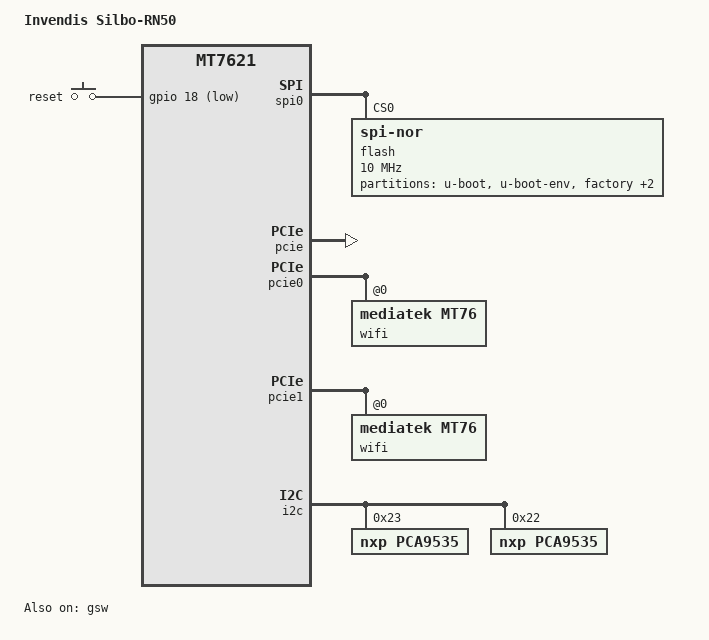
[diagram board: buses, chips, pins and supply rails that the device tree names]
#include "mt7621.dtsi"

#include <dt-bindings/gpio/gpio.h>
#include <dt-bindings/input/input.h>

/ {
	compatible = "invendis,silbo-RN50", "mediatek,mt7621-soc";
	model = "Invendis Silbo-RN50";

	chosen {
		bootargs = "console=ttyS0,115200";
	};

	keys {
		compatible = "gpio-keys";

		reset {
			label = "reset";
			gpios = <&gpio 18 GPIO_ACTIVE_LOW>;
			linux,code = <KEY_RESTART>;
		};
	};
};

&spi0 {
	status = "okay";

	flash@0 {
		compatible = "jedec,spi-nor";
		reg = <0>;
		spi-max-frequency = <10000000>;
		broken-flash-reset;

		partitions {
			compatible = "fixed-partitions";
			#address-cells = <1>;
			#size-cells = <1>;

			partition@0 {
				label = "u-boot";
				reg = <0x0 0x30000>;
			};

			partition@30000 {
				label = "u-boot-env";
				reg = <0x30000 0x10000>;
			};

			factory: partition@40000 {
				label = "factory";
				reg = <0x40000 0x10000>;
			};

			firmware: partition@50000 {
				compatible = "denx,uimage";
				label = "firmware";
				reg = <0x50000 0x1fa0000>;
			};
			
			partition@1ff0000 {
				label = "user-data";
				reg = <0x1ff0000 0x10000>;
			};
		};
	};
};

&pcie {
	status = "okay";
};

&pcie0 {
	wifi@0,0 {
		compatible = "mediatek,mt76";
		reg = <0x0000 0 0 0 0>;
		mediatek,mtd-eeprom = <&factory 0x0000>;
		ieee80211-freq-limit = <2400000 2500000>;
	};
};

&pcie1 {
	wifi@0,0 {
		compatible = "mediatek,mt76";
		reg = <0x0000 0 0 0 0>;
		mediatek,mtd-eeprom = <&factory 0x8000>;
		ieee80211-freq-limit = <5000000 6000000>;
	};
};

&gmac0 {
	mtd-mac-address = <&factory 0xe000>;
};

&gsw {
	mediatek,portmap = "lwwww";
	status = "okay";
};

&hnat {
	mtketh-wan = "eth0.5";
	mtketh-ppd = "eth0.1";
	mtketh-lan = "eth0";
	mtketh-max-gmac = <1>;
	/delete-property/ mtkdsa-wan-port;
};

&switch0 {
	status = "disabled";
};

&state_default {
	gpio {
		groups = "wdt", "uart2", "nand", "nand2";
		function = "gpio";
	};
	sdhci-nand {
		groups = "sdhci";
		function = "gpio";
	};
};

&i2c {
	status = "okay";
	compatible = "mediatek,mt7621-i2c";
	
	i2c-gpio,delay-us = <10>;
	
	pca9535@23 {
	compatible = "nxp,pca9535";
	reg = <0x23>; 
	gpio-controller;
	};
	
	pca9535@22 {
	compatible = "nxp,pca9535";
	reg = <0x22>;
	gpio-controller;        
	};
};
